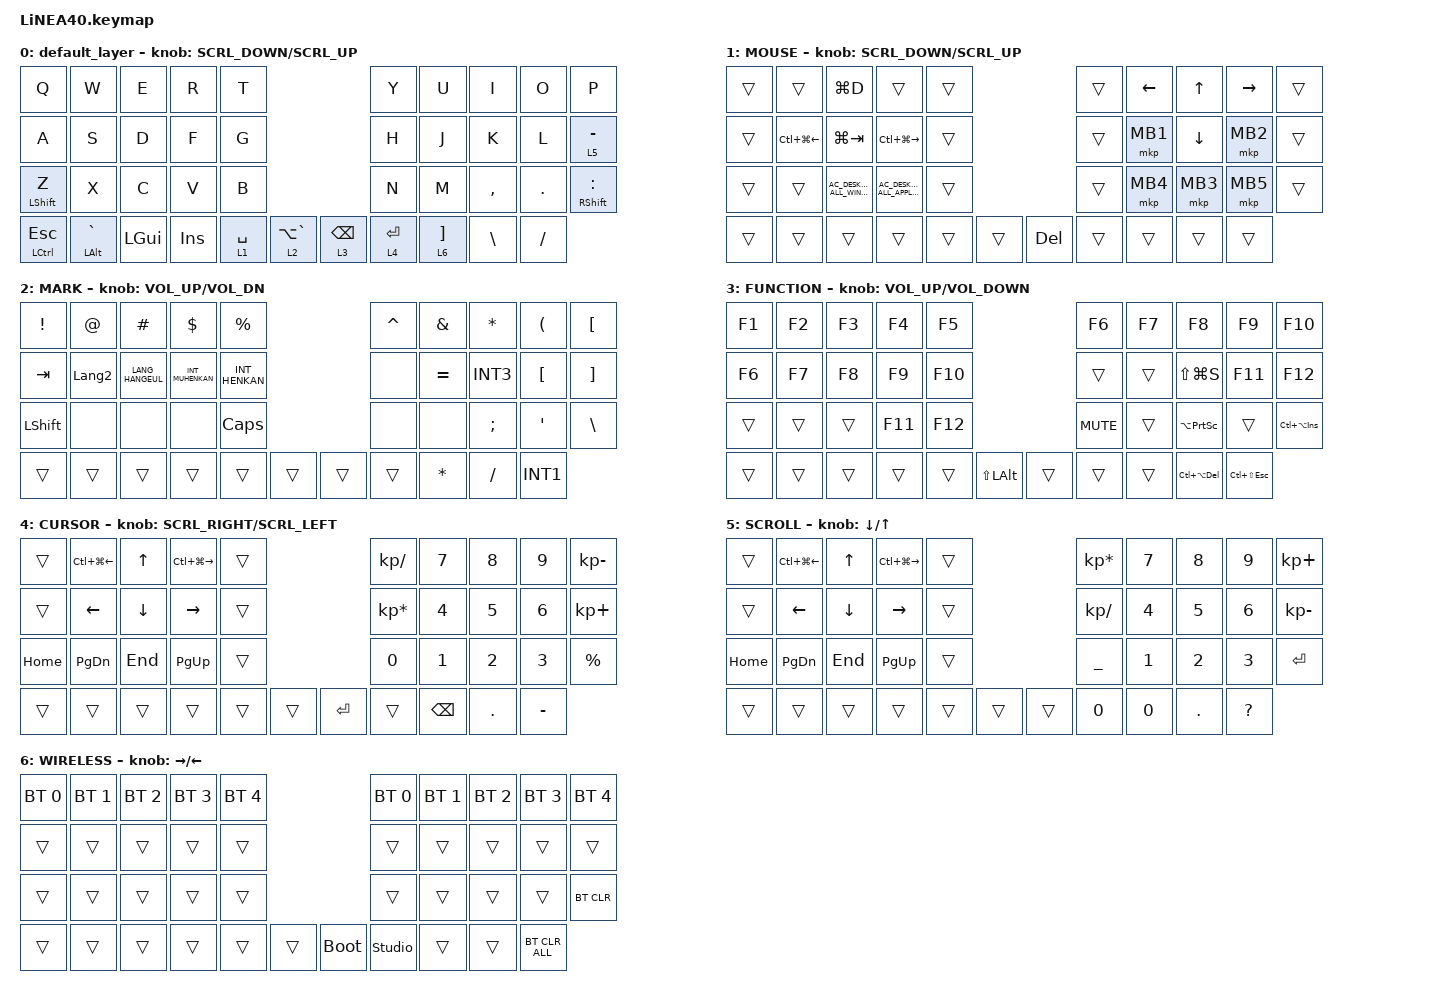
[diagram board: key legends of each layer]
#define ZMK_POINTING_DEFAULT_SCRL_VAL 110

#include <dt-bindings/zmk/input_transform.h>
#include <input/processors.dtsi>
#include <zephyr/dt-bindings/input/input-event-codes.h>
#include <behaviors.dtsi>
#include <dt-bindings/zmk/bt.h>
#include <dt-bindings/zmk/keys.h>
#include <dt-bindings/zmk/pointing.h>

#define MOUSE 1
#define MARK 2
#define CURSOR 3
#define FUNCTION 4
#define SCROLL 5
#define WIRELESS 6

//mouse cursol

&mmv {
    delay-ms = <20>;
    trigger-period-ms = <5>;
    time-to-max-speed-ms = <100>;
    acceleration-exponent = <2>;
};

//mouse scroll

&msc {
    delay-ms = <3>;
    trigger-period-ms = <3>;
    time-to-max-speed-ms = <100>;
    acceleration-exponent = <0>;
};

/ {
    input_processors {
        zip_wheel_scaler: zip_wheel_scaler {
            compatible = "zmk,input-processor-scaler";
            #input-processor-cells = <2>;
            type = <INPUT_EV_REL>;
            codes = <INPUT_REL_WHEEL>;
            track-remainders;
        };
    };
};

&msc_input_listener {
    speed_up {
        layers = <FUNCTION>;
        input-processors = <&zip_wheel_scaler 3 1>; //スクロールを3倍速にする
    };
};

&trackball_listener {
    scroller {
        layers = <SCROLL>;
        input-processors =
            <&zip_xy_transform INPUT_TRANSFORM_Y_INVERT>,
            //スクロール方向を逆転,,,,,,,,,,,,,,,,,,,,,
            <&zip_xy_to_scroll_mapper>;
    };
};

/ {
    combos {
        compatible = "zmk,combos";

        ZenkakuHankaku {
            bindings = <&kp TAB>;
            key-positions = <11 12>;
        };

        DeleteKey {
            bindings = <&kp DEL>;
            key-positions = <7 8>;
        };

        InsertKey {
            bindings = <&kp INS>;
            key-positions = <6 7>;
        };

        CenterClick {
            bindings = <&mkp MB3>;
            key-positions = <17 16>;
        };

        RightClick {
            bindings = <&mkp MB2>;
            key-positions = <18 17>;
        };

        PrevClick {
            bindings = <&mkp MB4>;
            key-positions = <27 28>;
        };

        ClickNext {
            bindings = <&mkp MB5>;
            key-positions = <26 27>;
        };
    };

    behaviors {
        re_kp: sensor_rotate_kp {
            compatible = "zmk,behavior-sensor-rotate-var";
            #sensor-binding-cells = <2>;
            bindings = <&kp>, <&kp>;
        };

        mouse_scrl: mouse_wheel_scrl {
            compatible = "zmk,behavior-sensor-rotate-var";
            #sensor-binding-cells = <2>;
            bindings = <&msc>, <&msc>;

            tap-ms = <20>;
        };

        lt_dt: lt_doubletap {
            compatible = "zmk,behavior-hold-tap";
            label = "LT_DoubleTap";
            bindings = <&mo>, <&kp>;

            #binding-cells = <2>;
            tapping-term-ms = <200>;
            flavor = "tap-preferred";
            quick-tap-ms = <200>;
            hold-while-undecided;
        };

        mt_shift: mt_shift {
            compatible = "zmk,behavior-hold-tap";
            label = "Mod/Tap_shift";
            bindings = <&kp>, <&kp>;

            #binding-cells = <2>;
            tapping-term-ms = <250>;
            flavor = "tap-preferred";
        };
    };

    keymap {
        compatible = "zmk,keymap";

        default_layer {
            bindings = <
&kp Q                   &kp W               &kp E         &kp R    &kp T                                                  &kp Y           &kp U  &kp I                &kp O          &kp P
&kp A                   &kp S               &kp D         &kp F    &kp G                                                  &kp H           &kp J  &kp K                &kp L          &lt 5 MINUS
&mt_shift LEFT_SHIFT Z  &kp X               &kp C         &kp V    &kp B                                                  &kp N           &kp M  &kp COMMA            &kp DOT        &mt RIGHT_SHIFT COLON
&mt LCTRL ESC           &mt LEFT_ALT GRAVE  &kp LEFT_GUI  &kp INS  &lt_dt 1 SPACE  &lt 2 LA(GRAVE)    &lt_dt 3 BACKSPACE  &lt_dt 4 ENTER         &lt 6 RIGHT_BRACKET  &kp BACKSLASH  &kp SLASH
            >;

            sensor-bindings = <&mouse_scrl SCRL_DOWN SCRL_UP>;
        };

        MOUSE {
            bindings = <
&trans  &trans                  &kp LG(D)                          &trans                                  &trans                     &trans  &kp LEFT  &kp UP    &kp RIGHT  &trans
&trans  &kp LC(LG(LEFT_ARROW))  &kp LG(TAB)                        &kp LC(LG(RIGHT))                       &trans                     &trans  &mkp MB1  &kp DOWN  &mkp MB2   &trans
&trans  &trans                  &kp C_AC_DESKTOP_SHOW_ALL_WINDOWS  &kp C_AC_DESKTOP_SHOW_ALL_APPLICATIONS  &trans                     &trans  &mkp MB4  &mkp MB3  &mkp MB5   &trans
&trans  &trans                  &trans                             &trans                                  &trans  &trans    &kp DEL  &trans            &trans    &trans     &trans
            >;

            sensor-bindings = <&mouse_scrl SCRL_DOWN SCRL_UP>;
        };

        MARK {
            bindings = <
&kp EXCLAMATION  &kp AT          &kp HASH          &kp DOLLAR        &kp PERCENT                       &kp CARET  &kp AMPERSAND  &kp ASTERISK  &kp LEFT_PARENTHESIS  &kp LBKT
&kp TAB          &kp LANGUAGE_2  &kp LANG_HANGEUL  &kp INT_MUHENKAN  &kp INT_HENKAN                    &none      &kp EQUAL      &kp INT3      &kp LEFT_BRACKET      &kp RIGHT_BRACKET
&kp LEFT_SHIFT   &none           &none             &none             &kp CAPSLOCK                      &none      &none          &kp SEMI      &kp APOS              &kp BACKSLASH
&trans           &trans          &trans            &trans            &trans          &trans    &trans  &trans                    &kp ASTERISK  &kp SLASH             &kp INT1
            >;

            sensor-bindings = <&re_kp C_VOLUME_UP C_VOL_DN>;
        };

        FUNCTION {
            bindings = <
&kp F1  &kp F2  &kp F3  &kp F4   &kp F5                               &kp F6      &kp F7  &kp F8               &kp F9              &kp F10
&kp F6  &kp F7  &kp F8  &kp F9   &kp F10                              &trans      &trans  &kp LS(LG(S))        &kp F11             &kp F12
&trans  &trans  &trans  &kp F11  &kp F12                              &kp C_MUTE  &trans  &kp LA(PRINTSCREEN)  &trans              &kp LC(LA(INS))
&trans  &trans  &trans  &trans   &trans   &kp LS(LEFT_ALT)    &trans  &trans              &trans               &kp LC(LA(DELETE))  &kp LC(LS(ESCAPE))
            >;

            sensor-bindings = <&re_kp C_VOLUME_UP C_VOLUME_DOWN>;
        };

        CURSOR {
            bindings = <
&trans    &kp LC(LG(LEFT_ARROW))  &kp UP_ARROW  &kp LC(LG(RIGHT_ARROW))  &trans                       &kp KP_DIVIDE    &kp N7        &kp N8         &kp N9        &kp KP_MINUS
&trans    &kp LEFT_ARROW          &kp DOWN      &kp RIGHT_ARROW          &trans                       &kp KP_MULTIPLY  &kp NUMBER_4  &kp N5         &kp NUMBER_6  &kp KP_PLUS
&kp HOME  &kp PAGE_DOWN           &kp END       &kp PAGE_UP              &trans                       &kp N0           &kp NUMBER_1  &kp NUMBER_2   &kp NUMBER_3  &kp PERCENT
&trans    &trans                  &trans        &trans                   &trans  &trans    &kp ENTER  &trans                         &kp BACKSPACE  &kp DOT       &kp MINUS
            >;

            sensor-bindings = <&mouse_scrl SCRL_RIGHT SCRL_LEFT>;
        };

        SCROLL {
            bindings = <
&trans    &kp LC(LG(LEFT_ARROW))  &kp UP_ARROW  &kp LC(LG(RIGHT_ARROW))  &trans                    &kp KP_MULTIPLY  &kp NUMBER_7  &kp NUMBER_8  &kp NUMBER_9  &kp KP_PLUS
&trans    &kp LEFT_ARROW          &kp DOWN      &kp RIGHT_ARROW          &trans                    &kp KP_SLASH     &kp NUMBER_4  &kp NUMBER_5  &kp NUMBER_6  &kp KP_MINUS
&kp HOME  &kp PAGE_DOWN           &kp END       &kp PAGE_UP              &trans                    &kp UNDER        &kp NUMBER_1  &kp NUMBER_2  &kp NUMBER_3  &kp ENTER
&trans    &trans                  &trans        &trans                   &trans  &trans    &trans  &kp NUMBER_0                   &kp NUMBER_0  &kp DOT       &kp QUESTION
            >;

            sensor-bindings = <&inc_dec_kp DOWN_ARROW UP_ARROW>;
        };

        WIRELESS {
            bindings = <
&bt BT_SEL 0  &bt BT_SEL 1  &bt BT_SEL 2  &bt BT_SEL 3  &bt BT_SEL 4                         &bt BT_SEL 0    &bt BT_SEL 1  &bt BT_SEL 2  &bt BT_SEL 3  &bt BT_SEL 4
&trans        &trans        &trans        &trans        &trans                               &trans          &trans        &trans        &trans        &trans
&trans        &trans        &trans        &trans        &trans                               &trans          &trans        &trans        &trans        &bt BT_CLR
&trans        &trans        &trans        &trans        &trans        &trans    &bootloader  &studio_unlock                &trans        &trans        &bt BT_CLR_ALL
            >;

            sensor-bindings = <&inc_dec_kp RIGHT_ARROW LEFT_ARROW>;
        };
    };
};
